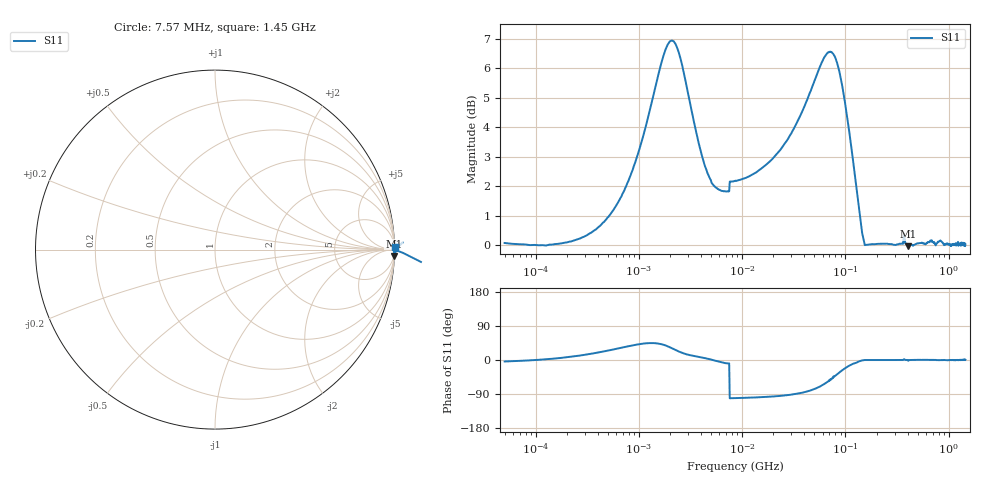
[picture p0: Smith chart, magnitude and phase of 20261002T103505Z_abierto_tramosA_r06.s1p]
! piloto_saltos / abierto_tramosA / r06
# HZ S RI R 50
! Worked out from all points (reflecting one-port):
!   501 points, 50 kHz to 1.45 GHz, reference 50 ohm
!   lowest |S11| = 0.0 dB at 406 MHz (marker M1), VSWR 593.54, Z = 265 - j2.79e+03 ohm
!   phase of S11 starts at -4 deg and turns +5 deg over the sweep
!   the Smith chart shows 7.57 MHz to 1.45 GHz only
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50000  1.007 -0.0694
183000  1.003 0.1068
363500  1.008 0.3186
658000  1.022 0.6307
1180000  1.152 1.117
1630000  1.504 1.354
1990000  1.845 1.228
2440000  1.96 0.8032
2800000  1.838 0.533
3340000  1.615 0.3157
4690000  1.315 0.0687
7300000  1.219 -0.1926
7750000  -0.2398 -1.26
8560000  -0.234 -1.265
1.81e7  -0.1685 -1.372
3.16e7  -0.00982 -1.576
4.69e7  0.3395 -1.812
5.59e7  0.6635 -1.884
6.4e7  1.004 -1.84
7.39e7  1.366 -1.624
8.65e7  1.652 -1.1
9.82e7  1.629 -0.6747
1e8  1.609 -0.6185
1.18e8  1.377 -0.2447
1.36e8  1.147 -0.0688
1.63e8  1.002 -0.000527
4.06e8  0.996 -0.0354
1.45e9  1.004 0.0122
